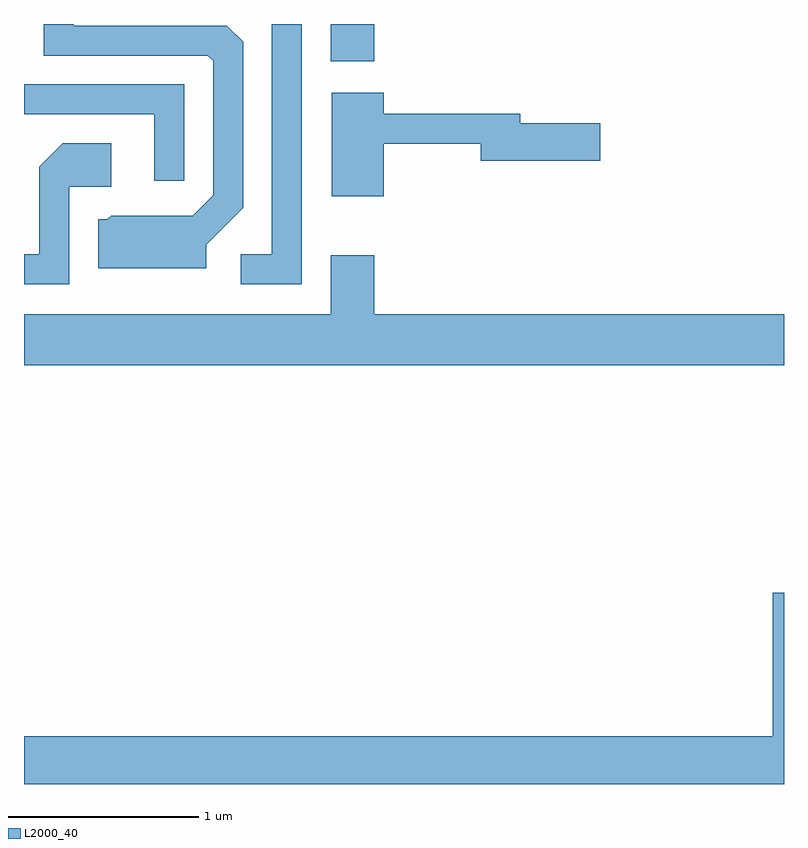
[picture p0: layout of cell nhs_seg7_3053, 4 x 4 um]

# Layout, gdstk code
import gdstk
lib = gdstk.Library(unit=1e-6, precision=1e-09)
def R(c, l, rs):  # rectangles x0, y0, x1, y1
    for r in rs: c.add(gdstk.rectangle(r[:2], r[2:], *l))
def P(c, l, *ps):  # polygons
    for p in ps: c.add(gdstk.Polygon(p, *l))
L2000_40 = (2000, 40)

nhs_seg7_3053 = lib.new_cell('nhs_seg7_3053')
R(nhs_seg7_3053, L2000_40, [(279.226,1798.056,279.454,1798.252)])
P(nhs_seg7_3053, L2000_40, [(278.569,1797.089),(278.764,1797.284),(278.764,1798.159),(278.679,1798.244),(277.874,1798.244),(277.874,1798.252),(277.716,1798.252),(277.716,1798.086),(278.579,1798.086),(278.606,1798.059),(278.606,1797.352),(278.499,1797.244),(278.069,1797.244),(278.049,1797.224),(278.001,1797.224),(278.001,1796.966),(278.569,1796.966)],
  [(279.074,1798.252),(278.916,1798.252),(278.916,1797.039),(278.753,1797.039),(278.753,1796.881),(279.074,1796.881)],
  [(278.454,1797.934),(277.611,1797.934),(277.611,1797.776),(278.296,1797.776),(278.296,1797.428),(278.454,1797.428)],
  [(279.504,1797.621),(280.016,1797.621),(280.016,1797.531),(280.644,1797.531),(280.644,1797.729),(280.224,1797.729),(280.224,1797.779),(279.504,1797.779),(279.504,1797.889),(279.231,1797.889),(279.231,1797.346),(279.504,1797.346)],
  [(277.849,1797.396),(278.069,1797.396),(278.069,1797.624),(277.814,1797.624),(277.691,1797.502),(277.691,1797.039),(277.611,1797.039),(277.611,1796.881),(277.849,1796.881)],
  [(281.611,1796.724),(279.454,1796.724),(279.454,1797.034),(279.226,1797.034),(279.226,1796.724),(277.611,1796.724),(277.611,1796.456),(281.611,1796.456)],
  [(281.611,1795.259),(281.551,1795.259),(281.551,1794.504),(277.611,1794.504),(277.611,1794.252),(281.611,1794.252)])

lib.write_gds('nhs_seg7_3053.gds')
